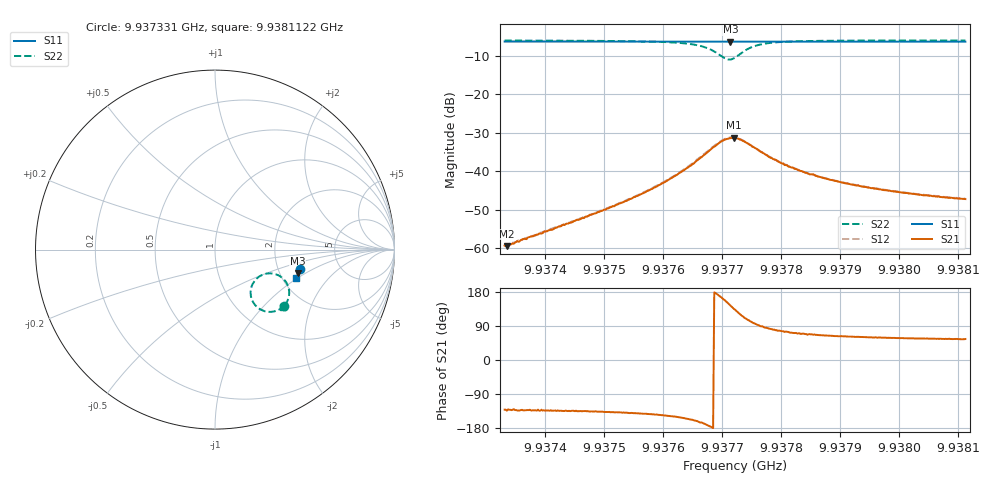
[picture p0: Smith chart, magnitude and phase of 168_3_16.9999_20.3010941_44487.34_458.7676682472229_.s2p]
#  HZ  S  RI  R  50.00
! Rohde & Schwarz Vector Network Analyzer
! Rohde-Schwarz,ZNB20-2Port,1311601062101988,3.16
! Created: UTC 3/20/2024, 10:59:38 PM
! freq[Hz]  re:S11  im:S11  re:S21  im:S21  re:S12  im:S12  re:S22  im:S22
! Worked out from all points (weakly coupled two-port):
!   401 points, 9.937331 GHz to 9.9381122 GHz, reference 50 ohm
!   highest |S21| = -31.32 dB at 9.9377197 GHz (marker M1); lowest = -59.5 dB at 9.9373349 GHz (marker M2)
!   lowest |S11| = -6.4 dB at 9.9377138 GHz (marker M3), VSWR 2.83, Z = 125 - j42.7 ohm
!   |S11| at or under -10 dB: nowhere
!   |S22| runs from -11.0 to -6.0 dB; largest |S21 - S12| = 0.0012
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9.93733103e9  0.471 -0.1085  -0.000709 -0.000816  -0.000714 -0.000784  0.3866 -0.3128
9.93733493e9  0.4707 -0.1087  -0.000736 -0.000771  -0.000744 -0.000792  0.3864 -0.3132
9.93746187e9  0.4683 -0.1174  -0.00175 -0.00172  -0.00176 -0.0017  0.3714 -0.3255
9.93754585e9  0.4661 -0.1231  -0.00333 -0.00284  -0.00345 -0.00281  0.3528 -0.3366
9.93759272e9  0.465 -0.1263  -0.00537 -0.00381  -0.00552 -0.0038  0.333 -0.3436
9.93763178e9  0.4639 -0.129  -0.00877 -0.00458  -0.00901 -0.00452  0.3027 -0.3469
9.93767083e9  0.4622 -0.1316  -0.0163 -0.00316  -0.0167 -0.00286  0.2422 -0.3262
9.93768451e9  0.4612 -0.1321  -0.0204 -0.000129  -0.0208 0.000365  0.2143 -0.2962
9.93769622e9  0.4606 -0.1324  -0.0231 0.00506  -0.0235 0.00582  0.1989 -0.2514
9.93770599e9  0.46 -0.1324  -0.0235 0.0109  -0.0237 0.012  0.2047 -0.2029
9.9377138e9  0.4598 -0.1322  -0.0216 0.0159  -0.0215 0.017  0.2272 -0.1666
9.93771966e9  0.46 -0.1323  -0.0192 0.0192  -0.0187 0.0199  0.2526 -0.1465
9.93772161e9  0.46 -0.1322  -0.0182 0.0197  -0.0177 0.0208  0.2622 -0.1416
9.93773138e9  0.4605 -0.1324  -0.0125 0.0224  -0.0117 0.023  0.3108 -0.1325
9.93774309e9  0.461 -0.1331  -0.00633 0.022  -0.00563 0.0223  0.3572 -0.1456
9.93776458e9  0.4613 -0.1348  0.000287 0.0179  0.000507 0.018  0.3996 -0.1876
9.93778215e9  0.4613 -0.1363  0.00208 0.0147  0.00248 0.015  0.4106 -0.216
9.93780949e9  0.4608 -0.1385  0.00322 0.0115  0.00352 0.0114  0.4134 -0.2463
9.93785246e9  0.4599 -0.1416  0.00344 0.00841  0.00367 0.00826  0.4086 -0.273
9.93790519e9  0.4585 -0.1453  0.00328 0.00626  0.00344 0.00625  0.4013 -0.291
9.9379833e9  0.4566 -0.1505  0.00292 0.00474  0.00302 0.00477  0.3923 -0.3062
9.9381122e9  0.4532 -0.1587  0.00246 0.00357  0.00259 0.00356  0.3809 -0.3211
